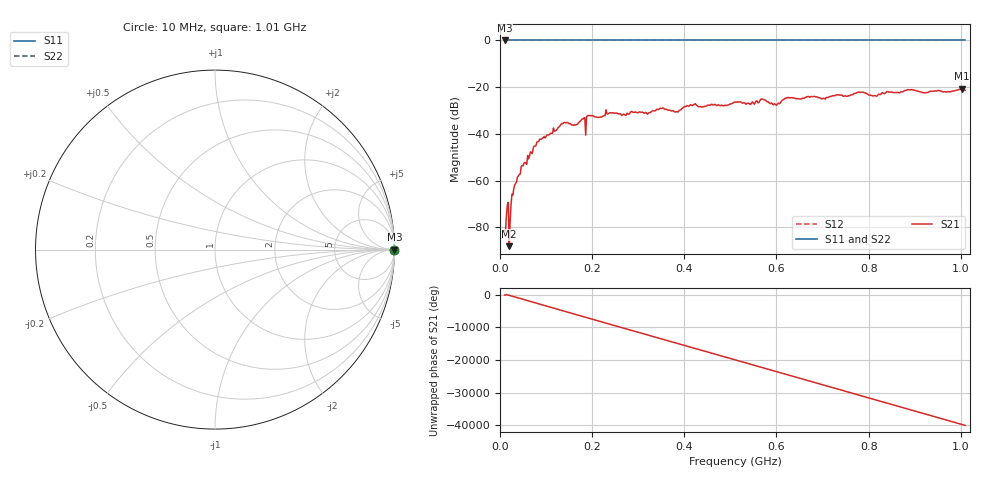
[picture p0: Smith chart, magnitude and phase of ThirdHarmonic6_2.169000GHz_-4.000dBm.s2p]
! 8/17/2025 1:52:45 AM
! C:\ANRITSUVNA\TEMP\TEMP.S2P
! CHANNEL.1
! TR.MEASUREMENT
! RAW.DATA
! RF.CORRECTION.OFF
! AVERAGING.OFF
! IF.BANDWIDTH: 5KHZ
! SWEEPTYPE:  FREQ.SWEEP(Linear)
! Reference Plane Port Info
! PORT:  PORT1  PORT2
! DISTANCE:  0  m  0  m
! TIME:  0  s  0  s
! PHASE.OFFSET:  0  deg.  0  deg.
! LOSS:  0  dB  0  dB
! REF.LOSS:  0  dB  0  dB
! REF.FREQ:  0  Hz  0  Hz
! Power Info
! POWER:  -20  dBm  -20  dBm
! EFF.POWER:  -20  dBm  -20  dBm
! SOURCE.ATTEN:  0  dB  0  dB
! TEST.ATTEN:  0  dB  0  dB
# GHZ S RI R 50.0
! FREQ.GHZ  S11RE  S11IM  S21RE  S21IM  S12RE  S12IM  S22RE  S22IM
!; PortSelection: Port_12
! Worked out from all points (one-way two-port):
!   501 points, 10 MHz to 1.01 GHz, reference 50 ohm
!   highest |S21| = -20.68 dB at 1.002 GHz (marker M1); lowest = -88.1 dB at 20 MHz (marker M2)
!   lowest |S11| = 0.0 dB at 10 MHz (marker M3)
!   |S11| at or under -10 dB: nowhere
!   |S22| runs from 0.0 to 0.0 dB; largest |S21 - S12| = 1.1
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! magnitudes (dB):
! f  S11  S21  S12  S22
! 10 MHz  0.0  -81.4  0.0  0.0
! 14 MHz  0.0  -74.8  0.0  0.0
! 20 MHz  0.0  -88.1  0.0  0.0
! 24 MHz  0.0  -70.2  0.0  0.0
! 30 MHz  0.0  -63.3  0.0  0.0
! 44 MHz  0.0  -57.1  0.0  0.0
! 84 MHz  0.0  -43.3  0.0  0.0
! 136 MHz  0.0  -35.7  0.0  0.0
! 164 MHz  0.0  -36.2  0.0  0.0
! 178 MHz  0.0  -33.7  0.0  0.0
! 234 MHz  0.0  -31.5  0.0  0.0
! 344 MHz  0.0  -29.6  0.0  0.0
! 382 MHz  0.0  -30.5  0.0  0.0
! 420 MHz  0.0  -27.4  0.0  0.0
! 510 MHz  0.0  -26.4  0.0  0.0
! 570 MHz  0.0  -25.1  0.0  0.0
! 596 MHz  0.0  -27.1  0.0  0.0
! 622 MHz  0.0  -24.5  0.0  0.0
! 678 MHz  0.0  -24.1  0.0  0.0
! 844 MHz  0.0  -22.1  0.0  0.0
! 1.002 GHz  0.0  -20.7  0.0  0.0
! 1.01 GHz  0.0  -21.4  0.0  0.0
